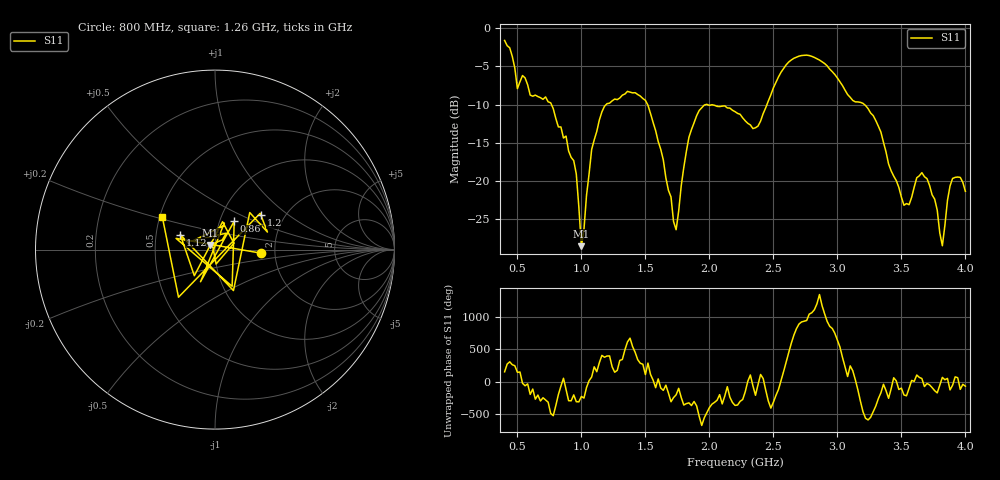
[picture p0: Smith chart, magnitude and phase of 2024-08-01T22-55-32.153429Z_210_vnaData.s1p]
!Created with skrf (http://scikit-rf.org).
# Hz S RI R 50.0
!freq ReS11 ImS11
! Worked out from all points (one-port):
!   181 points, 400 MHz to 4 GHz, reference 50 ohm
!   lowest |S11| = -28.5 dB at 1 GHz (marker M1), VSWR 1.08, Z = 47.3 + j2.48 ohm
!   |S11| at or under -10 dB: 1.517 GHz to 1.974 GHz (457.2 MHz wide, 26.2 % of centre); 1.984 GHz to 2.45 GHz (465.9 MHz wide, 21 % of centre); 3.211 GHz to end of sweep (the widest 3 of 4)
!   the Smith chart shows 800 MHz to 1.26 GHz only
!   S11 on the Smith chart (normalised r, x): 800 MHz: 1.69, -0.07; 860 MHz: 1.17, +0.38; 1.12 GHz: 0.67, +0.12; 1.2 GHz: 1.51, +0.65; 1.26 GHz: 0.52, +0.21
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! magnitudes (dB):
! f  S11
! 400 MHz  -1.6
! 500 MHz  -7.9
! 540 MHz  -6.2
! 800 MHz  -11.8
! 860 MHz  -14.4
! 960 MHz  -19.1
! 1 GHz  -28.5
! 1.08 GHz  -15.9
! 1.12 GHz  -13.5
! 1.2 GHz  -9.9
! 1.26 GHz  -9.3
! 1.3 GHz  -9.1
! 1.5 GHz  -9.4
! 1.64 GHz  -17.3
! 1.72 GHz  -25.3
! 1.76 GHz  -23.9
! 1.84 GHz  -14.3
! 1.92 GHz  -10.8
! 2.2 GHz  -10.9
! 2.38 GHz  -12.8
! 2.66 GHz  -3.9
! 3.1 GHz  -9.1
! 3.28 GHz  -11.5
! 3.56 GHz  -23.1
! 3.7 GHz  -19.7
! 3.82 GHz  -28.5
! 3.9 GHz  -19.7
! 4 GHz  -21.4
